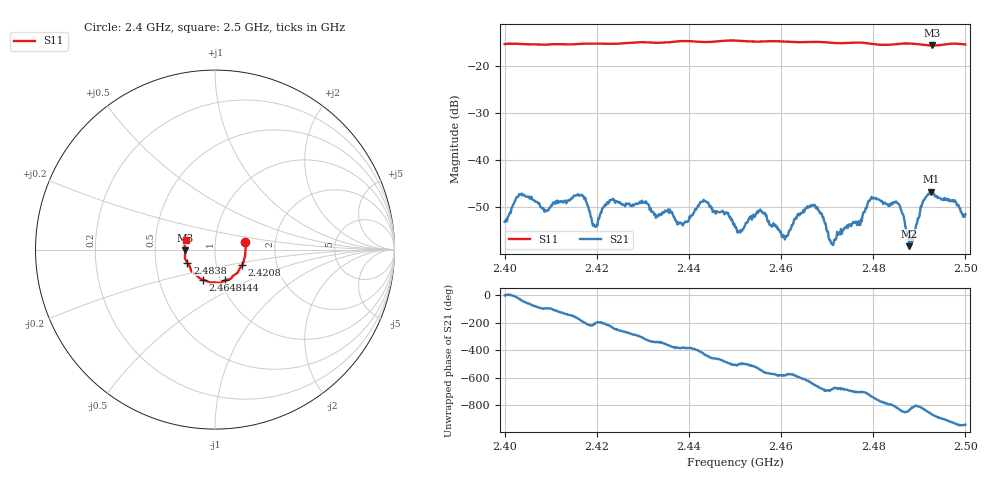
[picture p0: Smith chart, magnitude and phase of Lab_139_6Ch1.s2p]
# Hz S RI R 50
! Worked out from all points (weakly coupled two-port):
!   601 points, 2.4 GHz to 2.5 GHz, reference 50 ohm
!   highest |S21| = -46.68 dB at 2.4925 GHz (marker M1); lowest = -58.2 dB at 2.4878 GHz (marker M2)
!   lowest |S11| = -15.6 dB at 2.4928 GHz (marker M3), VSWR 1.40, Z = 35.8 - j0.344 ohm
!   |S11| at or under -10 dB: start of sweep to end of sweep
!   S12 and S22 are empty: the file has one direction only
!   S11 on the Smith chart (normalised r, x): 2.4 GHz: 1.40, +0.12; 2.4208 GHz: 1.33, -0.24; 2.444 GHz: 1.06, -0.37; 2.4648 GHz: 0.83, -0.29; 2.4838 GHz: 0.73, -0.11; 2.5 GHz: 0.72, +0.08
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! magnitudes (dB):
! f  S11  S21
! 2.4 GHz  -15.3  -53.0
! 2.4032 GHz  -15.3  -47.2
! 2.409 GHz  -15.4  -50.7
! 2.4167 GHz  -15.2  -47.3
! 2.4195 GHz  -15.2  -54.0
! 2.4208 GHz  -15.2  -51.1
! 2.4333 GHz  -15.0  -51.9
! 2.444 GHz  -14.9  -49.0
! 2.45 GHz  -14.5  -54.2
! 2.4557 GHz  -14.8  -50.8
! 2.4607 GHz  -14.8  -56.2
! 2.4648 GHz  -14.9  -50.5
! 2.4667 GHz  -14.8  -49.6
! 2.471 GHz  -15.0  -57.7
! 2.4795 GHz  -15.2  -48.1
! 2.4833 GHz  -15.4  -49.7
! 2.4838 GHz  -15.4  -49.2
! 2.4857 GHz  -15.2  -49.6
! 2.4878 GHz  -15.2  -58.2
! 2.4925 GHz  -15.6  -46.7
! 2.4928 GHz  -15.6  -47.2
! 2.5 GHz  -15.4  -51.4
